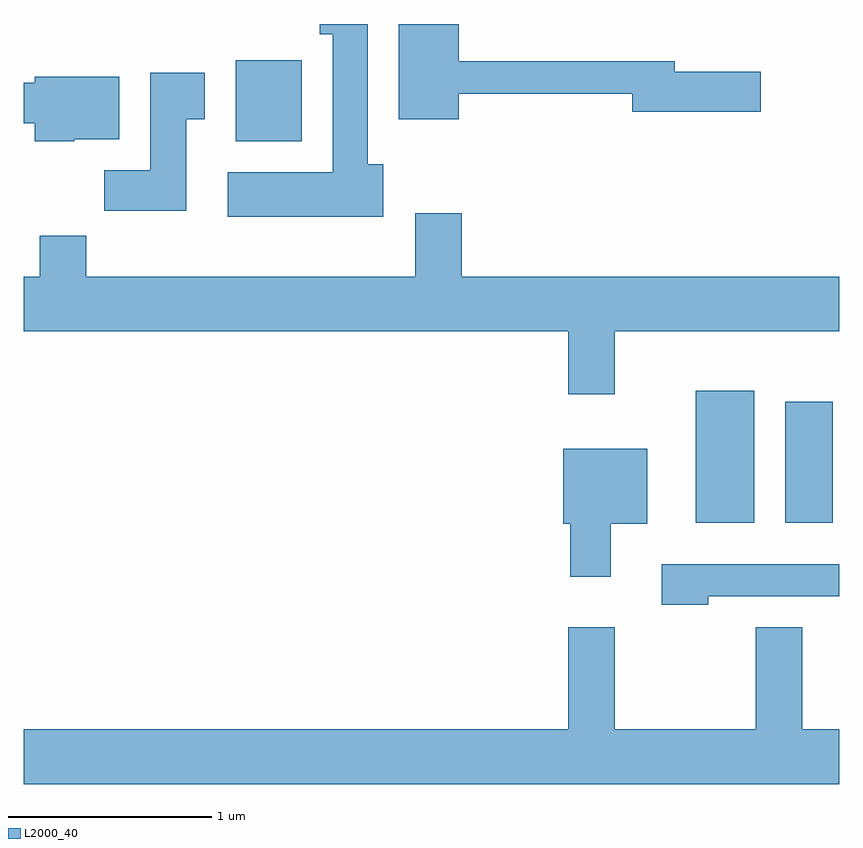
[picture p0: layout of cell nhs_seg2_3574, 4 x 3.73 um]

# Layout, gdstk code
import gdstk
lib = gdstk.Library(unit=1e-6, precision=1e-09)
def R(c, l, rs):  # rectangles x0, y0, x1, y1
    for r in rs: c.add(gdstk.rectangle(r[:2], r[2:], *l))
def P(c, l, *ps):  # polygons
    for p in ps: c.add(gdstk.Polygon(p, *l))
L2000_40 = (2000, 40)

nhs_seg2_3574 = lib.new_cell('nhs_seg2_3574')
R(nhs_seg2_3574, L2000_40, [(292.906,1067.356,293.194,1068.004), (293.346,1067.356,293.579,1067.949), (290.651,1069.226,290.974,1069.624)])
P(nhs_seg2_3574, L2000_40, [(291.744,1069.461),(292.596,1069.461),(292.596,1069.371),(293.224,1069.371),(293.224,1069.569),(292.804,1069.569),(292.804,1069.619),(291.744,1069.619),(291.744,1069.802),(291.451,1069.802),(291.451,1069.336),(291.744,1069.336)],
  [(291.374,1069.114),(291.299,1069.114),(291.299,1069.802),(291.063,1069.802),(291.063,1069.751),(291.126,1069.751),(291.126,1069.074),(290.611,1069.074),(290.611,1068.856),(291.374,1068.856)],
  [(290.409,1069.336),(290.499,1069.336),(290.499,1069.564),(290.231,1069.564),(290.231,1069.084),(290.006,1069.084),(290.006,1068.886),(290.409,1068.886)],
  [(289.86,1069.236),(290.079,1069.236),(290.079,1069.544),(289.666,1069.544),(289.666,1069.514),(289.611,1069.514),(289.611,1069.316),(289.666,1069.316),(289.666,1069.226),(289.86,1069.226)],
  [(292.509,1068.296),(293.611,1068.296),(293.611,1068.564),(291.759,1068.564),(291.759,1068.874),(291.531,1068.874),(291.531,1068.564),(289.919,1068.564),(289.919,1068.764),(289.691,1068.764),(289.691,1068.564),(289.611,1068.564),(289.611,1068.296),(292.281,1068.296),(292.281,1067.986),(292.509,1067.986)],
  [(292.489,1067.351),(292.669,1067.351),(292.669,1067.719),(292.256,1067.719),(292.256,1067.351),(292.291,1067.351),(292.291,1067.091),(292.489,1067.091)],
  [(292.969,1066.996),(293.611,1066.996),(293.611,1067.154),(292.741,1067.154),(292.741,1066.956),(292.969,1066.956)],
  [(293.611,1066.344),(293.429,1066.344),(293.429,1066.844),(293.201,1066.844),(293.201,1066.344),(292.509,1066.344),(292.509,1066.844),(292.281,1066.844),(292.281,1066.344),(289.611,1066.344),(289.611,1066.076),(293.611,1066.076)])

lib.write_gds('nhs_seg2_3574.gds')
